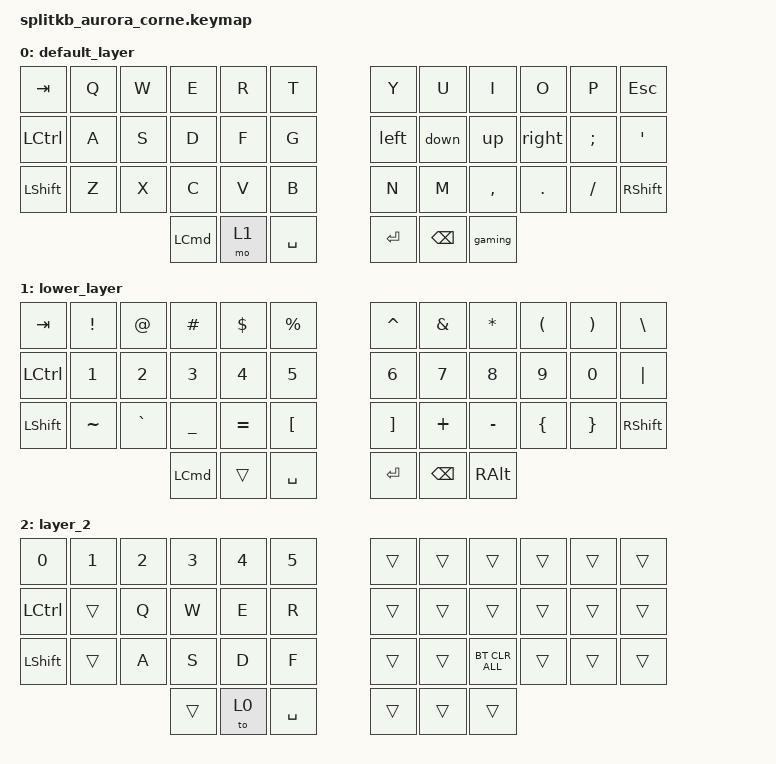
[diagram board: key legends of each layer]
/*
 * Copyright (c) 2020 The ZMK Contributors
 *
 * SPDX-License-Identifier: MIT
 */

#include <behaviors.dtsi>
#include <dt-bindings/zmk/bt.h>
#include <dt-bindings/zmk/keys.h>

/ {
    combos { compatible = "zmk,combos"; };

    behaviors {
        left: left {
            compatible = "zmk,behavior-mod-morph";
            label = "LEFT";
            bindings = <&kp H>, <&kp LEFT>;

            #binding-cells = <0>;
            mods = <(MOD_LALT|MOD_RALT)>;
        };

        down: down {
            compatible = "zmk,behavior-mod-morph";
            label = "DOWN";
            bindings = <&kp J>, <&kp DOWN>;

            #binding-cells = <0>;
            mods = <(MOD_LALT|MOD_RALT)>;
        };

        up: up {
            compatible = "zmk,behavior-mod-morph";
            label = "UP";
            bindings = <&kp K>, <&kp UP>;

            #binding-cells = <0>;
            mods = <(MOD_LALT|MOD_RALT)>;
        };

        right: right {
            compatible = "zmk,behavior-mod-morph";
            label = "RIGHT";
            bindings = <&kp L>, <&kp RIGHT>;

            #binding-cells = <0>;
            mods = <(MOD_LALT|MOD_RALT)>;
        };

        gaming: gaming {
            compatible = "zmk,behavior-tap-dance";
            label = "GAMING";
            #binding-cells = <0>;
            bindings = <&kp RIGHT_ALT>, <&kp RIGHT_ALT>, <&tog 2>;
        };
    };

    keymap {
        compatible = "zmk,keymap";

        default_layer {
            // -----------------------------------------------------------------------------------------
            // |  TAB |  Q  |  W  |  E  |  R  |  T  |   |  Y  |  U   |  I  |  O  |  P  | BKSP |
            // | CTRL |  A  |  S  |  D  |  F  |  G  |   |  H  |  J   |  K  |  L  |  ;  |  '   |
            // | SHFT |  Z  |  X  |  C  |  V  |  B  |   |  N  |  M   |  ,  |  .  |  /  | ESC  |
            //                    | GUI | LWR | SPC |   | ENT | RSE  | ALT |

            bindings = <
&kp TAB    &kp Q  &kp W  &kp E             &kp R  &kp T        &kp Y    &kp U          &kp I      &kp O    &kp P     &kp ESCAPE
&kp LCTRL  &kp A  &kp S  &kp D             &kp F  &kp G        &left    &down          &up        &right   &kp SEMI  &kp SQT
&kp LSHFT  &kp Z  &kp X  &kp C             &kp V  &kp B        &kp N    &kp M          &kp COMMA  &kp DOT  &kp FSLH  &kp RIGHT_SHIFT
                         &kp LEFT_COMMAND  &mo 1  &kp SPACE    &kp RET  &kp BACKSPACE  &gaming
            >;
        };

        lower_layer {
            // -----------------------------------------------------------------------------------------
            // |  TAB |  1  |  2  |  3  |  4  |  5  |   |  6  |  7  |  8  |  9  |  0  | BKSP |
            // | BTCLR| BT1 | BT2 | BT3 | BT4 | BT5 |   | LFT | DWN |  UP | RGT |     |      |
            // | SHFT |     |     |     |     |     |   |     |     |     |     |     |      |
            //                    | GUI |     | SPC |   | ENT |     | ALT |

            bindings = <
&kp TAB    &kp EXCL      &kp AT        &kp HASH          &kp DOLLAR    &kp PERCENT         &kp CARET          &kp AMPERSAND  &kp ASTERISK   &kp LEFT_PARENTHESIS  &kp RIGHT_PARENTHESIS  &kp BACKSLASH
&kp LCTRL  &kp NUMBER_1  &kp NUMBER_2  &kp NUMBER_3      &kp NUMBER_4  &kp NUMBER_5        &kp NUMBER_6       &kp NUMBER_7   &kp NUMBER_8   &kp NUMBER_9          &kp NUMBER_0           &kp PIPE
&kp LSHFT  &kp TILDE     &kp GRAVE     &kp UNDERSCORE    &kp EQUAL     &kp LEFT_BRACKET    &kp RIGHT_BRACKET  &kp PLUS       &kp MINUS      &kp LEFT_BRACE        &kp RIGHT_BRACE        &kp RSHIFT
                                       &kp LEFT_COMMAND  &trans        &kp SPACE           &kp RET            &kp BACKSPACE  &kp RIGHT_ALT
            >;
        };

        layer_2 {
            bindings = <
&kp NUMBER_0      &kp NUMBER_1  &kp NUMBER_2  &kp NUMBER_3  &kp NUMBER_4  &kp NUMBER_5    &trans  &trans  &trans          &trans  &trans  &trans
&kp LEFT_CONTROL  &trans        &kp Q         &kp W         &kp E         &kp R           &trans  &trans  &trans          &trans  &trans  &trans
&kp LEFT_SHIFT    &trans        &kp A         &kp S         &kp D         &kp F           &trans  &trans  &bt BT_CLR_ALL  &trans  &trans  &trans
                                              &trans        &to 0         &kp SPACE       &trans  &trans  &trans
            >;
        };
    };

    conditional_layers { compatible = "zmk,conditional-layers"; };
};
